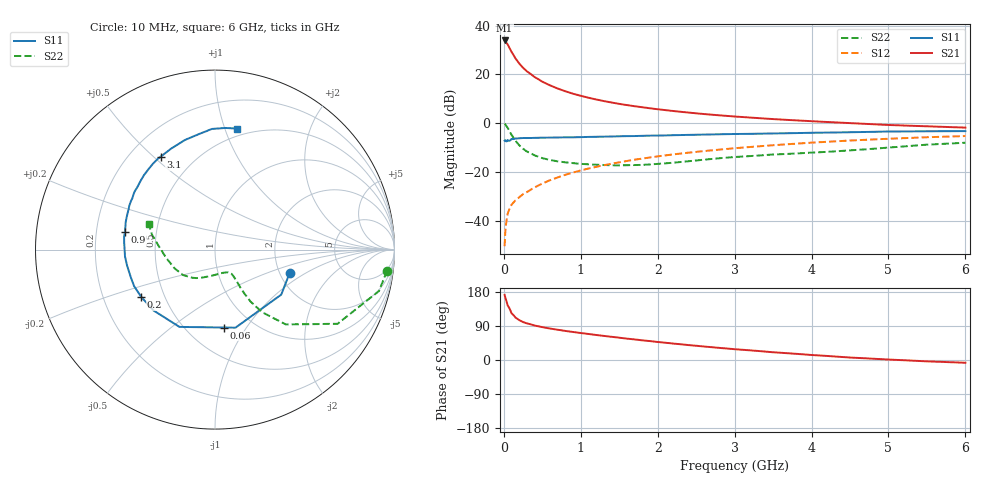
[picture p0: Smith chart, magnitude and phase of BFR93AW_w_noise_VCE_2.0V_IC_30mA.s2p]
! Infineon Technologies  Discrete & RF Semiconductors
! BFR93AW
! VCE =  2.0 V,  IC =  30 mA
! Common Emitter S-Parameters:  Jan 2017
# GHz  S  MA  R  50
!  f  S11  S21  S12  S22
! GHz  MAG  ANG  MAG  ANG  MAG  ANG  MAG  ANG
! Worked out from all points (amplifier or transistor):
!   77 points, 10 MHz to 6 GHz, reference 50 ohm
!   highest |S21| = 33.9 dB at 10 MHz (marker M1)
!   |S21| within 3 dB of that: start of sweep to 72.29 MHz
!   unconditionally stable (mu >= 1): 498.1 MHz to 2.176 GHz
!   at 130 MHz: K = 0.57, MSG = 30.0 dB, |S12| = -32.4 dB
!   at 2.2 GHz: K = 1.00, MSG = 8.9 dB, |S12| = -12.8 dB
!   at 6 GHz: K = 0.92, MSG = 1.7 dB, |S12| = -5.3 dB
!   lowest NFmin = 1.79 dB at 450 MHz
!   S11 on the Smith chart (normalised r, x): 10 MHz: 2.26, -0.73; 60 MHz: 0.74, -0.80; 200 MHz: 0.37, -0.26; 900 MHz: 0.33, +0.09; 3.1 GHz: 0.33, +0.53; 6 GHz: 0.43, +1.10
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0.01  0.4359 -17.5  49.42 171.7  0.003 88.2  0.9658 -7.0
0.02  0.4462 -34.2  48.67 164.0  0.0063 76.9  0.9423 -14.2
0.05  0.4497 -75.3  40.85 143.8  0.014 65.6  0.7982 -31.2
0.06  0.4372 -83.2  38.14 140.8  0.0154 63.9  0.7498 -33.5
0.1  0.474 -114.7  28.87 123.3  0.0212 59.5  0.5739 -46.6
0.15  0.4823 -135.4  21.31 112.2  0.0259 57.3  0.4349 -53.1
0.2  0.4885 -147.4  16.65 105.2  0.0302 59.6  0.3515 -55.6
0.25  0.4945 -155.7  13.63 100.1  0.0349 61.2  0.2984 -56.2
0.3  0.4938 -161.6  11.49 96.6  0.0385 62.4  0.2611 -56.3
0.4  0.498 -169.8  8.777 90.9  0.048 65.3  0.2179 -55.6
0.5  0.5029 -175.6  7.065 86.7  0.0576 67.9  0.1913 -55.3
0.6  0.5038 179.8  5.936 83.0  0.0675 68.1  0.1756 -55.3
0.7  0.5074 175.7  5.107 79.9  0.077 69.8  0.1642 -55.5
0.9  0.5116 168.8  3.998 73.9  0.0969 69.3  0.1512 -58.5
1.1  0.5206 162.8  3.311 68.7  0.117 69.2  0.1432 -62.6
1.3  0.5275 157.4  2.827 63.6  0.1367 68.0  0.1385 -68.4
1.5  0.5368 152.8  2.478 58.9  0.157 66.8  0.1361 -75.6
2.1  0.5591 139.4  1.845 45.6  0.2178 61.9  0.1496 -100.2
3.1  0.5997 120.4  1.332 27.0  0.3143 52.0  0.206 -131.7
4.1  0.6358 103.8  1.073 12.0  0.4053 41.1  0.2526 -158.6
5.1  0.6733 90.2  0.904 0.3  0.4843 29.9  0.3235 174.0
6  0.6851 79.9  0.808 -7.3  0.5431 19.9  0.3961 158.8
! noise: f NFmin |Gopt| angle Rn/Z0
0.45  1.79  0.18  173  0.16
0.9  2.06  0.26  -175  0.16
1.9  3.1  0.5  -135  0.29
2.4  3.75  0.55  -124  0.55
